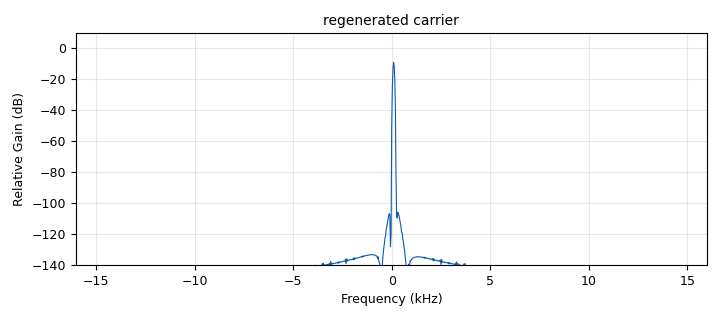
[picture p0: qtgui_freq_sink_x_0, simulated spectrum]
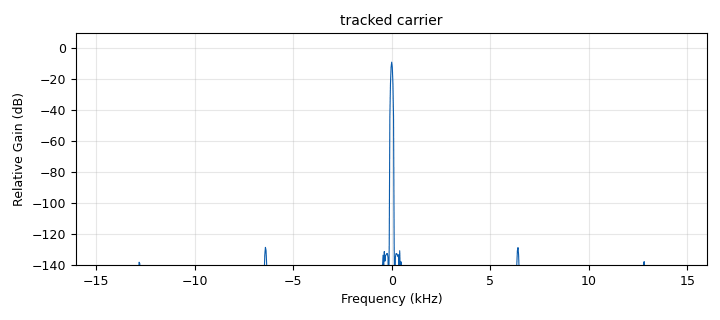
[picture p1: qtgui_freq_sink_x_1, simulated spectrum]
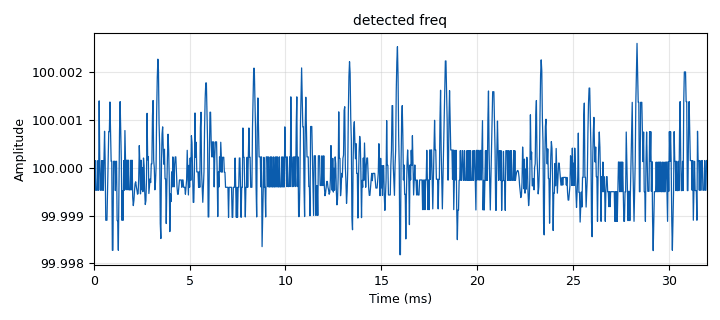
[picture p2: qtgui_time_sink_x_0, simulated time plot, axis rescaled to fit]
options:
  parameters:
    generate_options: qt_gui
    id: pll_experiments
    output_language: python
    title: pll_experiments
  states: {}

blocks:
- name: loop_bw
  id: variable
  parameters:
    value: pi/10
  states: {}
- name: max_freq
  id: variable
  parameters:
    value: 4e3
  states: {}
- name: max_pps
  id: variable
  parameters:
    value: 2 * pi * max_freq / samp_rate
  states: {}
- name: min_freq
  id: variable
  parameters:
    value: '-4e3'
  states: {}
- name: min_pps
  id: variable
  parameters:
    value: 2 * pi * min_freq / samp_rate
  states: {}
- name: samp_rate
  id: variable
  parameters:
    value: '32000'
  states: {}
- name: sig_freq_in
  id: variable_qtgui_range
  parameters:
    label: 'Signal frequency in:'
    start: '-4000'
    step: '50'
    stop: '4000'
    value: '100'
  states: {}
- name: analog_pll_carriertracking_cc_0
  id: analog_pll_carriertracking_cc
  parameters:
    max_freq: max_pps
    min_freq: min_pps
    w: loop_bw
  states: {}
- name: analog_pll_freqdet_cf_0
  id: analog_pll_freqdet_cf
  parameters:
    max_freq: max_pps
    min_freq: min_pps
    w: loop_bw
  states: {}
- name: analog_pll_refout_cc_0
  id: analog_pll_refout_cc
  parameters:
    max_freq: max_pps
    min_freq: min_pps
    w: loop_bw
  states: {}
- name: analog_sig_source_x_0
  id: analog_sig_source_x
  parameters:
    amp: '1'
    freq: sig_freq_in
    offset: '0'
    phase: '0'
    samp_rate: samp_rate
    type: complex
    waveform: analog.GR_COS_WAVE
  states: {}
- name: blocks_copy_0
  id: blocks_copy
  parameters:
    enabled: 'True'
    type: complex
  states: {}
- name: blocks_multiply_const_vxx_0
  id: blocks_multiply_const_vxx
  parameters:
    const: 1/(2*pi)
    type: float
  states: {}
- name: blocks_multiply_const_vxx_0_0
  id: blocks_multiply_const_vxx
  parameters:
    const: samp_rate
    type: float
  states: {}
- name: blocks_throttle2_0
  id: blocks_throttle2
  parameters:
    samples_per_second: samp_rate
    type: complex
  states: {}
- name: import_0
  id: import
  parameters:
    imports: from math import pi
  states: {}
- name: qtgui_freq_sink_x_0
  id: qtgui_freq_sink_x
  parameters:
    bw: samp_rate
    fc: '0'
    fftsize: '1024'
    name: regenerated carrier
    type: complex
  states: {}
- name: qtgui_freq_sink_x_1
  id: qtgui_freq_sink_x
  parameters:
    bw: samp_rate
    fc: '0'
    fftsize: '1024'
    name: tracked carrier
    type: complex
  states: {}
- name: qtgui_time_sink_x_0
  id: qtgui_time_sink_x
  parameters:
    name: detected freq
    size: '1024'
    srate: samp_rate
    type: float
    ymax: max_freq*1.1
    ymin: min_freq*1.1
  states: {}

connections:
- [analog_pll_carriertracking_cc_0, '0', qtgui_freq_sink_x_1, '0']
- [analog_pll_freqdet_cf_0, '0', blocks_multiply_const_vxx_0, '0']
- [analog_pll_refout_cc_0, '0', qtgui_freq_sink_x_0, '0']
- [analog_sig_source_x_0, '0', blocks_copy_0, '0']
- [analog_sig_source_x_0, '0', blocks_throttle2_0, '0']
- [blocks_copy_0, '0', analog_pll_carriertracking_cc_0, '0']
- [blocks_copy_0, '0', analog_pll_freqdet_cf_0, '0']
- [blocks_copy_0, '0', analog_pll_refout_cc_0, '0']
- [blocks_multiply_const_vxx_0, '0', blocks_multiply_const_vxx_0_0, '0']
- [blocks_multiply_const_vxx_0_0, '0', qtgui_time_sink_x_0, '0']

metadata:
  file_format: 1
  grc_version: 3.10.8.0
